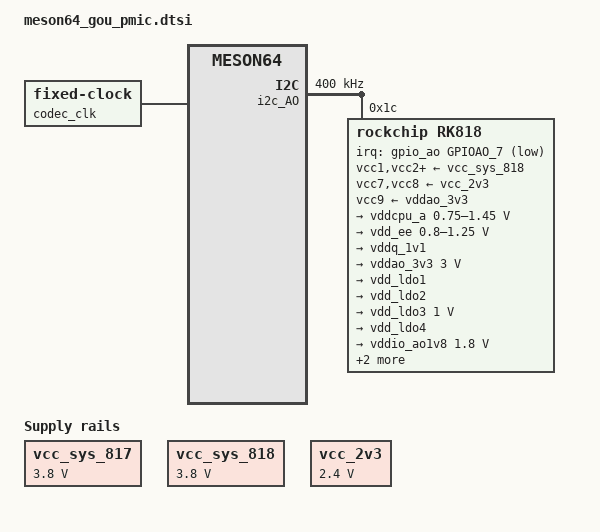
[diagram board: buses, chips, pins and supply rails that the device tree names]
/*
 * arch/arm64/boot/dts/amlogic/meson64_gou_pmic.dtsi
 *
 * Copyright (C) 2021 Hardkernel Co,. Ltd. All rights reserved.
 *
 * This program is free software; you can redistribute it and/or modify
 * it under the terms of the GNU General Public License as published by
 * the Free Software Foundation; either version 2 of the License, or
 * (at your option) any later version.
 *
 * This program is distributed in the hope that it will be useful, but WITHOUT
 * ANY WARRANTY; without even the implied warranty of MERCHANTABILITY or
 * FITNESS FOR A PARTICULAR PURPOSE.  See the GNU General Public License for
 * more details.
 *
 */

/{
	vcc_sys_817: sys_3v8_817 {
		compatible = "regulator-fixed";
		regulator-name = "vcc_sys_817";
		regulator-always-on;
		regulator-min-microvolt = <3800000>;
		regulator-max-microvolt = <3800000>;
	};
	vcc_sys_818: sys_3v8_818 {
		compatible = "regulator-fixed";
		regulator-name = "vcc_sys_818";
		regulator-always-on;
		regulator-min-microvolt = <3800000>;
		regulator-max-microvolt = <3800000>;
	};
	vcc_2v3: vcc_2v3 {
		compatible = "regulator-fixed";
		regulator-name = "vcc_2v3";
		regulator-always-on;
		regulator-min-microvolt = <2400000>;
		regulator-max-microvolt = <2400000>;
	};

	codec_clk: codec-clk {
		compatible = "fixed-clock";
		clock-frequency = <16000000>;
		clock-output-names = "codec_clk";
		#clock-cells = <0>;
	};
};

&i2c_AO {
	status = "okay";
	pinctrl-names="default";
	pinctrl-0=<&ao_i2c_master_pins1>;
	clock-frequency = <400000>;

	rk818: pmic@1c {
		compatible = "rockchip,rk818";
		reg = <0x1c>;
		status = "okay";

		gpio-irq = <&gpio_ao GPIOAO_7 GPIO_ACTIVE_LOW>;
		rockchip,system-power-controller;
		wakeup-source;

		vcc1-supply = <&vcc_sys_818>;
		vcc2-supply = <&vcc_sys_818>;
		vcc3-supply = <&vcc_sys_818>;
		vcc4-supply = <&vcc_sys_818>;
		vcc6-supply = <&vcc_sys_818>;
		vcc7-supply = <&vcc_2v3>;
		vcc8-supply = <&vcc_2v3>;
		vcc9-supply = <&vddao_3v3>;

		regulators {
			vddcpu_a: DCDC_REG1 {
				regulator-name = "vdd_cpu_a";
				regulator-always-on;
				regulator-boot-on;
				regulator-min-microvolt = <750000>;
				regulator-max-microvolt = <1450000>;
				regulator-ramp-delay = <6001>;
				regulator-state-mem {
					regulator-on-in-suspend;
					regulator-suspend-microvolt = <1000000>;
				};
			};

			vdd_ee: DCDC_REG2 {
				regulator-name = "vdd_ee";
				regulator-always-on;
				regulator-boot-on;
				regulator-min-microvolt = <800000>;
				regulator-max-microvolt = <1250000>;
				regulator-ramp-delay = <6001>;
				regulator-state-mem {
					regulator-on-in-suspend;
					regulator-suspend-microvolt = <1000000>;
				};
			};

			vddq_1v1: DCDC_REG3 {
				regulator-name = "vcc_ddr";
				regulator-always-on;
				regulator-boot-on;
				regulator-state-mem {
					regulator-on-in-suspend;
				};
			};

			vddao_3v3: DCDC_REG4 {
				regulator-always-on;
				regulator-boot-on;
				regulator-min-microvolt = <3000000>;
				regulator-max-microvolt = <3000000>;
				regulator-name = "vddao_3v3";
				regulator-state-mem {
					regulator-on-in-suspend;
					regulator-suspend-microvolt = <3000000>;
				};
			};

			vdd_ldo1: LDO_REG1 {
				regulator-boot-off;
				regulator-name = "rk818_LDO1";
				regulator-state-mem {
					regulator-off-in-suspend;
				};
			};
			vdd_ldo2: LDO_REG2 {
				regulator-boot-off;
				regulator-name = "rk818_LDO2";
				regulator-state-mem {
					regulator-off-in-suspend;
				};
			};
			vdd_ldo3: LDO_REG3 {
				regulator-boot-off;
				regulator-min-microvolt = <1000000>;
				regulator-max-microvolt = <1000000>;
				regulator-name = "rk818_LDO3";
				regulator-state-mem {
					regulator-off-in-suspend;
				};
			};
			vdd_ldo4: LDO_REG4 {
				regulator-boot-off;
				regulator-name = "rk818_LDO4";
				regulator-state-mem {
					regulator-off-in-suspend;
				};
			};

			vddio_ao1v8: LDO_REG5 {
				regulator-always-on;
				regulator-boot-on;
				regulator-min-microvolt = <1800000>;
				regulator-max-microvolt = <1800000>;
				regulator-name = "vddio_ao1v8";
				regulator-state-mem {
					regulator-on-in-suspend;
					regulator-suspend-microvolt = <1800000>;
				};
			};

			vcc_lcd: LDO_REG6 {
				regulator-boot-off;
				regulator-name = "vcc_lcd";
				regulator-state-mem {
					regulator-off-in-suspend;
					regulator-suspend-microvolt = <2500000>;
				};
			};

			vddq_1v8: LDO_REG7 {
				regulator-always-on;
				regulator-boot-on;
				regulator-min-microvolt = <1800000>;
				regulator-max-microvolt = <1800000>;
				regulator-name = "vcc_18";
				regulator-state-mem {
					regulator-on-in-suspend;
					regulator-suspend-microvolt = <1800000>;
				};
			};

			vdd_ldo8: LDO_REG8 {
				regulator-boot-off;
				regulator-name = "rk818_LDO8";
				regulator-state-mem {
					regulator-off-in-suspend;
				};
			};

			vddio_c: LDO_REG9 {
				regulator-always-on;
				regulator-boot-on;
				regulator-min-microvolt = <1800000>;
				regulator-max-microvolt = <3300000>;
				regulator-name = "vddio_c";
				regulator-state-mem {
					regulator-on-in-suspend;
					regulator-suspend-microvolt = <3300000>;
				};
			};

			vcc_sd: SWITCH_REG {
				regulator-name = "vcc_sd";
				regulator-always-on;
				regulator-boot-on;
				regulator-state-mem {
					regulator-on-in-suspend;
				};
			};

			boost_otg: DCDC_BOOST {
				regulator-name = "boost_otg";
				regulator-always-on;
				regulator-boot-on;
				regulator-min-microvolt = <5000000>;
				regulator-max-microvolt = <5000000>;
				regulator-state-mem {
					regulator-on-in-suspend;
					regulator-suspend-microvolt = <5000000>;
				};
			};

			otg_switch: OTG_SWITCH {
				regulator-name = "otg_switch";
			};
		};
		battery {
			compatible = "rk818-battery";
			ocv_table = <3400 3675 3689 3716 3740 3756 3768 3780
				3793 3807 3827 3853 3896 3937 3974 4007 4066
				4110 4161 4217 4250>;
			design_capacity = <4000>;
			design_qmax = <4100>;
			bat_res = <180>;
			max_input_current = <1500>;
			max_chrg_current = <2000>;
			max_chrg_voltage = <4500>;
			sleep_enter_current = <300>;
			sleep_exit_current = <300>;
			power_off_thresd = <3500>;
			zero_algorithm_vol = <3700>;
			fb_temperature = <105>;
			sample_res = <10>;
			max_soc_offset = <60>;
			energy_mode = <0>;
			monitor_sec = <5>;
			virtual_power = <0>;
			power_dc2otg = <1>;
			dc_det_gpio = <&gpio_ao GPIOAO_8 GPIO_ACTIVE_LOW>;
		};
	};
	rk817: pmic@20 {
		compatible = "rockchip,rk817";
		reg = <0x20>;
		status = "disabled";
		gpio-irq = <&gpio_ao GPIOAO_4 GPIO_ACTIVE_LOW>;

		//rockchip,system-power-controller;
		wakeup-source;
		/* #clock-cells = <1>; */
		/* clock-output-names = "rk808-clkout1", "rk808-clkout2"; */
		fb-inner-reg-idxs = <2>;

		/* 1: rst regs (default in codes), 0: rst the pmic */
		pmic-reset-func = <0>;

		vcc1-supply = <&vcc_sys_817>;
		vcc2-supply = <&vcc_sys_817>;
		vcc3-supply = <&vcc_sys_817>;
		vcc4-supply = <&vcc_sys_817>;
		vcc5-supply = <&vcc_sys_817>;
		vcc6-supply = <&vcc_sys_817>;
		vcc7-supply = <&vcc_sys_817>;
		vcc8-supply = <&vcc_sys_817>;
		vcc9-supply = <&vcc_sys_817>;

		rk817_codec: codec {
			#sound-dai-cells = <0>;
			compatible = "rockchip,rk817-codec";
			clocks = <&codec_clk>;
			clock-names = "mclk";
			hp-volume = <20>;
			spk-volume = <3>;
			status = "okay";
		};
	};
};
